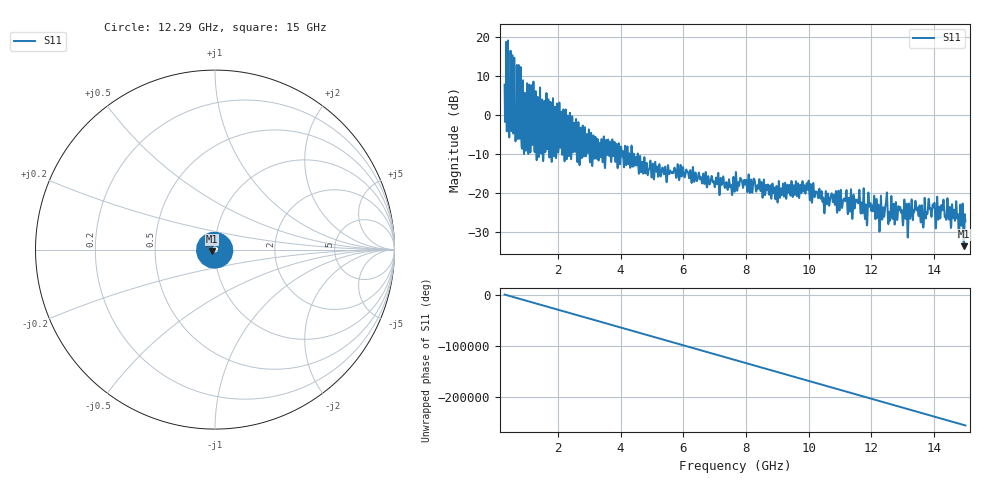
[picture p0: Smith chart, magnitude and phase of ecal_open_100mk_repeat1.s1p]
# GHZ S RI R 50.0
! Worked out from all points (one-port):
!   12801 points, 300 MHz to 15 GHz, reference 50 ohm
!   lowest |S11| = -33.6 dB at 14.95 GHz (marker M1), VSWR 1.04, Z = 48.1 - j0.844 ohm
!   |S11| at or under -10 dB: 4.28 GHz to 4.336 GHz (56.59 MHz wide, 1.31 % of centre); 4.424 GHz to 4.544 GHz (119.5 MHz wide, 2.67 % of centre); 4.55 GHz to end of sweep (the widest 3 of 40)
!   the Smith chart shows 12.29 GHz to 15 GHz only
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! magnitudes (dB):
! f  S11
! 300 MHz  7.8
! 387.3 MHz  -1.0
! 549.2 MHz  8.9
! 710 MHz  -4.5
! 750.2 MHz  7.4
! 914.4 MHz  -9.7
! 1.157 GHz  7.3
! 1.328 GHz  -11.4
! 1.63 GHz  1.2
! 1.749 GHz  -6.6
! 2.04 GHz  -1.1
! 2.138 GHz  -10.2
! 3.975 GHz  -12.6
! 5.812 GHz  -13.0
! 7.65 GHz  -19.0
! 9.488 GHz  -21.0
! 11.32 GHz  -23.7
! 11.56 GHz  -22.2
! 11.84 GHz  -23.4
! 11.96 GHz  -22.7
! 12.3 GHz  -20.8
! 12.44 GHz  -23.4
! 13.16 GHz  -31.3
! 13.41 GHz  -22.2
! 13.62 GHz  -23.5
! 14.28 GHz  -22.8
! 14.95 GHz  -33.6
! 15 GHz  -27.2
